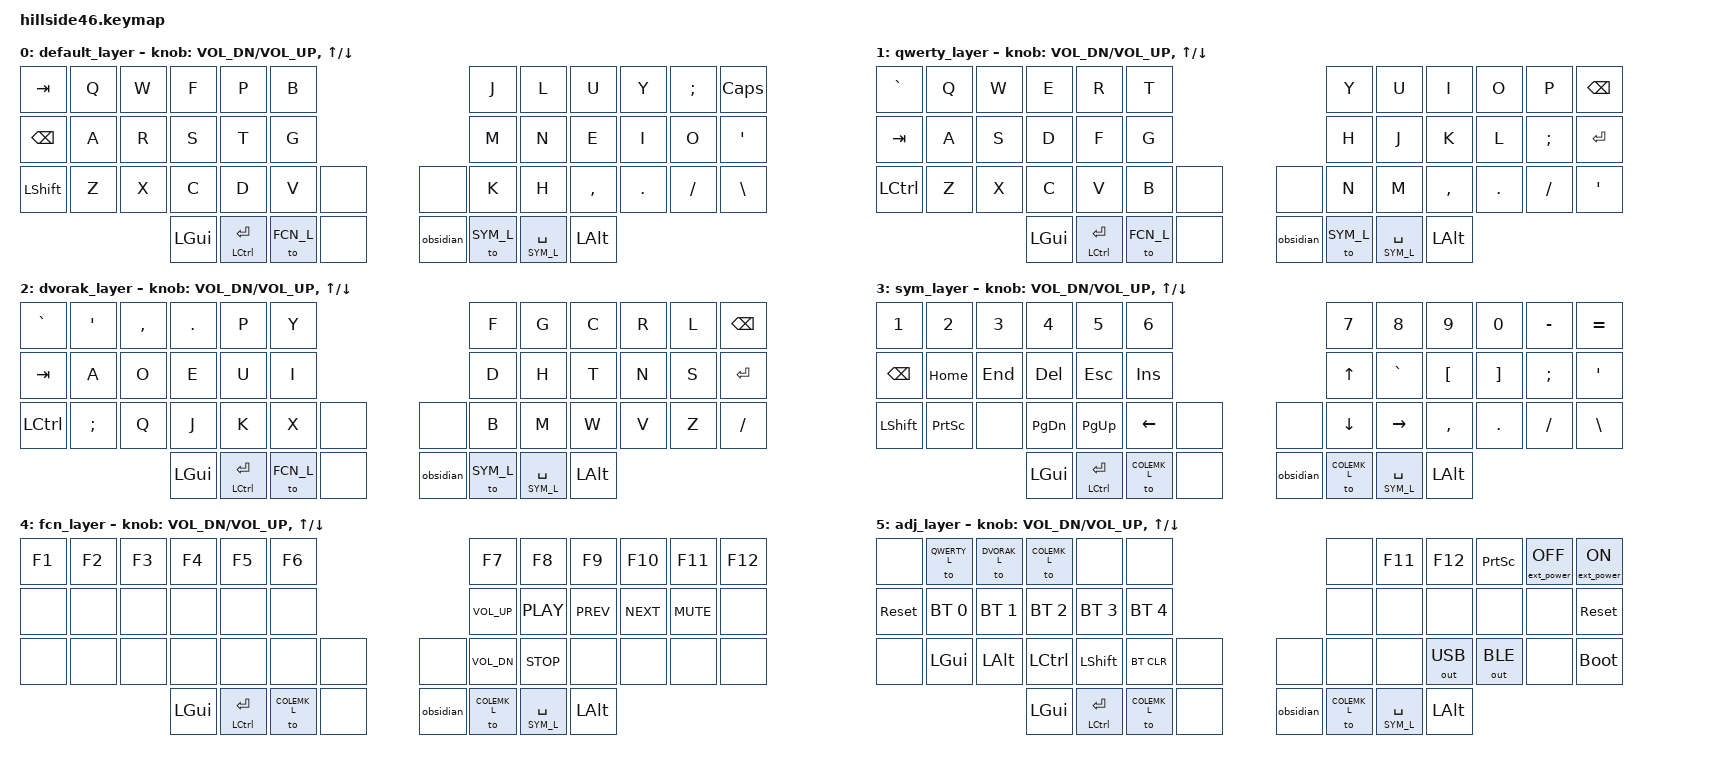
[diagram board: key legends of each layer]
/*
 * Copyright (c) 2021-2022 The ZMK Contributors
 *
 * SPDX-License-Identifier: MIT
 */

#include <behaviors.dtsi>
#include <dt-bindings/zmk/bt.h>
#include <dt-bindings/zmk/ext_power.h>
#include <dt-bindings/zmk/keys.h>
#include <dt-bindings/zmk/outputs.h>


#define COLEMK_L 0
#define QWERTY_L 1
#define DVORAK_L 2
#define SYM_L    3
#define FCN_L    4
#define ADJ_L    5

#define Undo   LC(Z)
#define Cut    LC(X)
#define Copy   LC(C)
#define Paste  LC(V)
#define Redo   LC(Y)

/ {
    combos {
        compatible = "zmk,combos";
        combo_esc {
            timeout-ms = <50>;
            key-positions = <40 43>;
            bindings = <&to ADJ_L>;
        };
    };
};

/ {
    macros {
        obsidian: zed_em_kay {
            compatible = "zmk,behavior-macro";
            #binding-cells = <0>;
            bindings
                = <&macro_tap &kp LGUI>
                , <&macro_tap &kp O &kp B &kp S &kp I &kp D &kp I &kp A &kp N>
                , <&macro_tap &kp ENTER>
                ;
        };
    };
};

/ {
        keymap {
                compatible = "zmk,keymap";

                default_layer {
/* COLEMAK
 * -------------------------------------------------------------------------------------------------------------------------------------
 * | TAB    |   Q   |   W   |   F   |   P   |   G   |-----------------------------------|   J   |   L   |   U   |   Y   |   ;   |  CAPS |
 * | BSPC   |   A   |   R   |   S   |   T   |   D   |-----------------------------------|   H   |   N   |   E   |   I   |   O   |   '   |
 * | SHIFT  |   Z   |   X   |   C   |   V   |   B   |  ESC  |-------------------| CAPS  |   K   |   M   |   ,   |   .   |   /   |   \   |
 *                                 |  GUI  |  ALT  |SK SHFT|  &mo FCN  |---|  &mo SYM  | &lt SYM SPACE |  ALT  |  GUI  |
 */
                        bindings = <
&kp  TAB      &kp  Q        &kp  W        &kp  F        &kp  P        &kp  B                                                                         &kp  J        &kp  L        &kp  U        &kp  Y        &kp  SEMI     &kp  CAPS
&kp  BSPC     &kp  A        &kp  R        &kp  S        &kp  T        &kp  G                                                                         &kp  M        &kp  N        &kp  E        &kp  I        &kp  O        &kp  SQT
&kp  LSHIFT   &kp  Z        &kp  X        &kp  C        &kp  D        &kp  V        &none                                           &none    &kp  K        &kp  H        &kp  COMMA    &kp  DOT      &kp  SLASH    &kp  BSLH
							&kp  LGUI     &mt  LCTRL ENTER  &to  FCN_L    &none                &obsidian        &to  SYM_L    &lt  SYM_L SPACE  &kp  LALT

                        >;
			
                        sensor-bindings = <&inc_dec_kp C_VOL_DN C_VOL_UP &inc_dec_kp UP DOWN>;
                };
		
                qwerty_layer {
/* QWERTY
 * -------------------------------------------------------------------------------------------------------------------------------------
 * | `     |   Q   |   W   |   E   |   R   |   T   |-----------------------------------|   Y   |   U   |   I   |   O   |   P   | BKSPC |
 * | TAB   |   A   |   S   |   D   |   F   |   G   |-----------------------------------|   H   |   J   |   K   |   L   |   ;   | ENTER |
 * | CTRL  |   Z   |   X   |   C   |   V   |   B   |  ESC  |-------------------|  CAPS |   N   |   M   |   ,   |   .   |   /   |   '   |
 *                                 |  GUI  |  ALT  |SK SHFT|  Nav  |---|  Sym  | SPACE |  ALT  |  GUI  |
 */
                        bindings = <
&kp  GRAVE    &kp  Q        &kp  W        &kp  E        &kp  R        &kp  T                                                                         &kp  Y        &kp  U        &kp  I        &kp  O        &kp  P        &kp  BSPC
&kp  TAB      &kp  A        &kp  S        &kp  D        &kp  F        &kp  G                                                                         &kp  H        &kp  J        &kp  K        &kp  L        &kp  SEMI     &kp  ENTER  
&kp  LCTRL    &kp  Z        &kp  X        &kp  C        &kp  V        &kp  B        &none                                           &none    &kp  N        &kp  M        &kp  COMMA    &kp  DOT      &kp  SLASH    &kp  SQT
							&kp  LGUI     &mt  LCTRL ENTER  &to  FCN_L    &none                &obsidian        &to  SYM_L    &lt  SYM_L SPACE  &kp  LALT
                        >;
			
                        sensor-bindings = <&inc_dec_kp C_VOL_DN C_VOL_UP &inc_dec_kp UP DOWN>;
                };
		
                dvorak_layer {
/* DVORAK
 * -------------------------------------------------------------------------------------------------------------------------------------
 * | `     |   '   |   ,   |   .   |   P   |   Y   |-----------------------------------|   F   |   G   |   C   |   R   |   L   | BKSPC |
 * | TAB   |   A   |   O   |   E   |   U   |   I   |-----------------------------------|   D   |   H   |   T   |   N   |   S   | ENTER |
 * | CTRL  |   ;   |   Q   |   J   |   K   |   X   |  ESC  |-------------------| CAPS  |   B   |   M   |   W   |   V   |   Z   |   /   |
 *                                 |  GUI  |  ALT  |SK SHFT|  Nav  |---|  Sym  | SPACE |  ALT  |  GUI  |
 */
                        bindings = <
&kp  GRAVE    &kp  SQT      &kp  COMMA    &kp  DOT      &kp  P        &kp  Y                                                                         &kp  F        &kp  G        &kp  C        &kp  R        &kp  L        &kp  BSPC
&kp  TAB      &kp  A        &kp  O        &kp  E        &kp  U        &kp  I                                                                         &kp  D        &kp  H        &kp  T        &kp  N        &kp  S        &kp  ENTER
&kp  LCTRL    &kp  SEMI     &kp  Q        &kp  J        &kp  K        &kp  X        &none                                           &none    &kp  B        &kp  M        &kp  W        &kp  V        &kp  Z        &kp  SLASH
							&kp  LGUI     &mt  LCTRL ENTER  &to  FCN_L    &none                &obsidian        &to  SYM_L    &lt  SYM_L SPACE  &kp  LALT
                        >;
			
                        sensor-bindings = <&inc_dec_kp C_VOL_DN C_VOL_UP &inc_dec_kp UP DOWN>;
                };
		
                sym_layer {
/* SYM   
 * -------------------------------------------------------------------------------------------------------------------------------------
 * | 1     |   2   |   3   |   4   |   5   |   6   |-----------------------------------|   7   |   8   |   9   |   0   |   -   |   =   |
 * |       |  HOME |  END  |  DEL  |  ESC  |  INS  |-----------------------------------|  UP   |  ~    |   [   |   ]   |   ;   |   '   |
 * |LSHIFT | PSCRN |       |  PGDN |  PGUP |  LT   |SkAltGr|-------------------| MENU  | DOWN  |  RT   |   ,   |   .   |   /   |   \   |
 *                                 |       |       |       |  ADJ_L |---|      |       |       |       |
 */
                        bindings = <
&kp  N1       &kp  N2        &kp  N3        &kp  N4        &kp  N5        &kp  N6                                                                        &kp  N7       &kp  N8       &kp  N9       &kp  N0       &kp  MINUS    &kp EQUAL
&kp  BSPC     &kp  HOME      &kp  END       &kp  DEL       &kp  ESC       &kp  INS                                                                       &kp  UP       &kp  GRAVE    &kp  LBKT     &kp  RBKT     &kp  SEMI     &kp SQT
&kp  LSHIFT   &kp  PSCRN     &none          &kp  PG_DN     &kp  PG_UP     &kp  LEFT     &none                                            &none    &kp  DOWN     &kp  RIGHT    &kp  COMMA    &kp  DOT      &kp  SLASH    &kp BSLH
							&kp  LGUI     &mt  LCTRL ENTER  &to  COLEMK_L    &none                &obsidian        &to  COLEMK_L    &lt  SYM_L SPACE  &kp  LALT
                        >;
			
                        sensor-bindings = <&inc_dec_kp C_VOL_DN C_VOL_UP &inc_dec_kp UP DOWN>;
                };

                fcn_layer {
/* FCN   
 * -------------------------------------------------------------------------------------------------------------------------------------
 * | Copy  |   1   |   2   |   3   |   4   |   5   |-----------------------------------|   6   |   7   |   8   |   9   |   0   | BSPC  |
 * | Cut   |  GUI  |  Alt  | Ctrl  | Shift | Paste |-----------------------------------| PG UP |  Left |  Up   |  Down | Right | PG DN |
 * | Ctrl  |  F1   |  F2   |  F3   |  F4   |  F5   |  UnDo |-------------------| ReDo  |  F6   |  F7   |  F8   |  F9   |  F10  | Ctrl  |
 *                                 |       |       |       |       |---| ADJ_L |       |       |       |
 */
                        bindings = <
&kp  F1       &kp  F2       &kp  F3       &kp  F4       &kp  F5       &kp  F6                                                                        &kp   F7          &kp  F8        &kp   F9      &kp   F10     &kp  F11      &kp F12
&none         &none         &none         &none         &none         &none                                                                          &kp   C_VOL_UP    &kp  C_PLAY    &kp   C_PREV  &kp   C_NEXT  &kp  C_MUTE   &none
&none         &none         &none         &none         &none         &none         &none                                           &none     &kp   C_VOL_DN    &kp  C_STOP    &none         &none         &none         &none
							&kp  LGUI     &mt  LCTRL ENTER  &to  COLEMK_L   &none                &obsidian        &to  COLEMK_L    &lt  SYM_L SPACE  &kp  LALT
                        >;
			
                        sensor-bindings = <&inc_dec_kp C_VOL_DN C_VOL_UP &inc_dec_kp UP DOWN>;
                };
		
                adj_layer {
/* ADJUST
 * -------------------------------------------------------------------------------------------------------------------------------------
 * |       | QWERTY| DVORAK| COLEMK|       |       |-----------------------------------|       |  F11  |  F12  |Prt Scr|EP_OFF | EP_ON |
 * | RESET | BT 0  | BT 1  | BT 2  | BT 3  | BT 4  |-----------------------------------|       |       |       |       |       | RESET |
 * |       | LGUI  | LALT  | LCTRL | LSHIFT|       |BT CLR |-------------------|       |       |       |OUT_USB|OUT_BLE|       | BOOTL |
 *                                 |       |       |       |       |---|       |       |       |       |
 */
                        bindings = <
&none         &to  QWERTY_L &to  DVORAK_L &to  COLEMK_L &none         &none                                                                             &none             &kp   F11          &kp   F12  &kp PRINTSCREEN   &ext_power EP_OFF  &ext_power EP_ON
&sys_reset    &bt  BT_SEL 0 &bt  BT_SEL 1 &bt  BT_SEL 2 &bt  BT_SEL 3 &bt  BT_SEL 4                                                                     &none             &none              &none            &none          &none           &sys_reset
&none         &kp  LGUI     &kp  LALT     &kp  LCTRL    &kp LSHIFT    &bt BT_CLR        &none                                           &none           &none             &none              &out  OUT_USB    &out  OUT_BLE  &none           &bootloader
							&kp  LGUI     &mt  LCTRL ENTER  &to  COLEMK_L    &none           &obsidian      &to  COLEMK_L   &lt  SYM_L SPACE  &kp  LALT
                        >;
			
                        sensor-bindings = <&inc_dec_kp C_VOL_DN C_VOL_UP &inc_dec_kp UP DOWN>;
                };
        };
};
